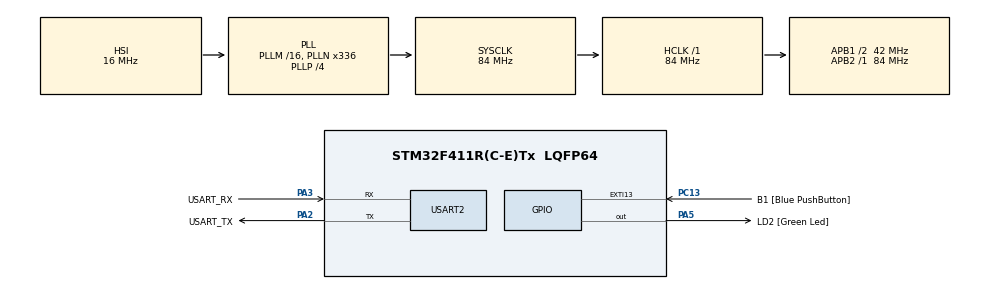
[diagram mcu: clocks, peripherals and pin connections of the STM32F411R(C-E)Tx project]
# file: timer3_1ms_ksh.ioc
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Mcu.Family=STM32F4
Mcu.Name=STM32F411R(C-E)Tx
Mcu.Package=LQFP64
NVIC.PriorityGroup=NVIC_PRIORITYGROUP_0
NVIC.TIM3_IRQn=true\:0\:0\:false\:false\:true\:true\:true\:true
PA13.GPIO_Label=TMS
PA13.Mode=Serial_Wire
PA13.Signal=SYS_JTMS-SWDIO
PA14.GPIO_Label=TCK
PA14.Mode=Serial_Wire
PA14.Signal=SYS_JTCK-SWCLK
PA2.GPIO_Label=USART_TX
PA2.Mode=Asynchronous
PA2.Signal=USART2_TX
PA3.GPIO_Label=USART_RX
PA3.Mode=Asynchronous
PA3.Signal=USART2_RX
PA5.GPIO_Label=LD2 [Green Led]
PA5.Signal=GPIO_Output
PB3.GPIO_Label=SWO
PB3.Signal=SYS_JTDO-SWO
PC13-ANTI_TAMP.GPIO_Label=B1 [Blue PushButton]
PC13-ANTI_TAMP.GPIO_ModeDefaultEXTI=GPIO_MODE_IT_FALLING
PC13-ANTI_TAMP.Signal=GPXTI13
PC14-OSC32_IN.Signal=RCC_OSC32_IN
PC15-OSC32_OUT.Signal=RCC_OSC32_OUT
PH0\ -\ OSC_IN.Signal=RCC_OSC_IN
PH1\ -\ OSC_OUT.Signal=RCC_OSC_OUT
ProjectManager.HeapSize=0x200
ProjectManager.StackSize=0x400
ProjectManager.TargetToolchain=STM32CubeIDE
RCC.48MHZClocksFreq_Value=84000000
RCC.AHBFreq_Value=84000000
RCC.APB1CLKDivider=RCC_HCLK_DIV2
RCC.APB1Freq_Value=42000000
RCC.APB1TimFreq_Value=84000000
RCC.APB2Freq_Value=84000000
RCC.APB2TimFreq_Value=84000000
RCC.CortexFreq_Value=84000000
RCC.FLatency-AdvancedSettings=FLASH_LATENCY_2
RCC.HCLKFreq_Value=84000000
RCC.HSE_VALUE=8000000
RCC.HSI_VALUE=16000000
RCC.LSE_VALUE=32768
RCC.PLLN=336
RCC.PLLP=RCC_PLLP_DIV4
RCC.SYSCLKFreq_VALUE=84000000
RCC.SYSCLKSource=RCC_SYSCLKSOURCE_PLLCLK
RCC.VCOOutputFreq_Value=336000000
TIM3.AutoReloadPreload=TIM_AUTORELOAD_PRELOAD_ENABLE
TIM3.Period=1000-1
TIM3.Prescaler=84
USART2.VirtualMode=VM_ASYNC
VP_TIM3_VS_ClockSourceINT.Mode=Internal
board=NUCLEO-F411RE

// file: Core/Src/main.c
/* USER CODE BEGIN Header */
/**
  ******************************************************************************
  * @file           : main.c
  * @brief          : Main program body
  ******************************************************************************
  * @attention
  *
  * Copyright (c) 2025 STMicroelectronics.
  * All rights reserved.
  *
  * This software is licensed under terms that can be found in the LICENSE file
  * in the root directory of this software component.
  * If no LICENSE file comes with this software, it is provided AS-IS.
  *
  ******************************************************************************
  */
/* USER CODE END Header */
#include "main.h"

/* USER CODE BEGIN Includes */
#include <stdio.h>
/* USER CODE END Includes */

/* USER CODE BEGIN PD */
#ifdef __GNUC__
/* With GCC, small printf (option LD Linker->Libraries->Small printf
   set to 'Yes') calls __io_putchar() */
#define PUTCHAR_PROTOTYPE int __io_putchar(int ch)
#else
#define PUTCHAR_PROTOTYPE int fputc(int ch, FILE *f)
#endif /* __GNUC__ */
/* USER CODE END PD */

TIM_HandleTypeDef htim3;

UART_HandleTypeDef huart2;

/* USER CODE BEGIN PV */
volatile int time3SecFlag = 0;
volatile unsigned int time3SecCnt=0;
/* USER CODE END PV */

void SystemClock_Config(void);
static void MX_GPIO_Init(void);
static void MX_USART2_UART_Init(void);
static void MX_TIM3_Init(void);

int main(void)
{

  /* USER CODE BEGIN 1 */
	int cnt = 0;
  /* USER CODE END 1 */

  /* MCU Configuration--------------------------------------------------------*/

  /* Reset of all peripherals, Initializes the Flash interface and the Systick. */
  HAL_Init();

  /* Configure the system clock */
  SystemClock_Config();

  /* Initialize all configured peripherals */
  MX_GPIO_Init();
  MX_USART2_UART_Init();
  MX_TIM3_Init();
  /* USER CODE BEGIN 2 */
  printf("start main()!!\r\n");
  if(HAL_TIM_Base_Start_IT(&htim3) != HAL_OK)
	  Error_Handler();

  /* USER CODE END 2 */

  /* Infinite loop */
  /* USER CODE BEGIN WHILE */
  while (1)
  {
//	  HAL_GPIO_TogglePin(LD2_GPIO_Port,LD2_Pin);
//	  HAL_Delay(1000);

	  if(time3SecFlag)
	  {
		  HAL_GPIO_TogglePin(LD2_GPIO_Port,LD2_Pin);
		  time3SecFlag = 0;
		  printf("cnt : %d\r\n",cnt++);
	  }
    /* USER CODE END WHILE */

  }
}

void SystemClock_Config(void)
{
  RCC_OscInitTypeDef RCC_OscInitStruct = {0};
  RCC_ClkInitTypeDef RCC_ClkInitStruct = {0};

  /** Configure the main internal regulator output voltage
  */
  __HAL_RCC_PWR_CLK_ENABLE();
  __HAL_PWR_VOLTAGESCALING_CONFIG(PWR_REGULATOR_VOLTAGE_SCALE1);

  /** Initializes the RCC Oscillators according to the specified parameters
  * in the RCC_OscInitTypeDef structure.
  */
  RCC_OscInitStruct.OscillatorType = RCC_OSCILLATORTYPE_HSI;
  RCC_OscInitStruct.HSIState = RCC_HSI_ON;
  RCC_OscInitStruct.HSICalibrationValue = RCC_HSICALIBRATION_DEFAULT;
  RCC_OscInitStruct.PLL.PLLState = RCC_PLL_ON;
  RCC_OscInitStruct.PLL.PLLSource = RCC_PLLSOURCE_HSI;
  RCC_OscInitStruct.PLL.PLLM = 16;
  RCC_OscInitStruct.PLL.PLLN = 336;
  RCC_OscInitStruct.PLL.PLLP = RCC_PLLP_DIV4;
  RCC_OscInitStruct.PLL.PLLQ = 4;
  if (HAL_RCC_OscConfig(&RCC_OscInitStruct) != HAL_OK)
  {
    Error_Handler();
  }

  /** Initializes the CPU, AHB and APB buses clocks
  */
  RCC_ClkInitStruct.ClockType = RCC_CLOCKTYPE_HCLK|RCC_CLOCKTYPE_SYSCLK
                              |RCC_CLOCKTYPE_PCLK1|RCC_CLOCKTYPE_PCLK2;
  RCC_ClkInitStruct.SYSCLKSource = RCC_SYSCLKSOURCE_PLLCLK;
  RCC_ClkInitStruct.AHBCLKDivider = RCC_SYSCLK_DIV1;
  RCC_ClkInitStruct.APB1CLKDivider = RCC_HCLK_DIV2;
  RCC_ClkInitStruct.APB2CLKDivider = RCC_HCLK_DIV1;

  if (HAL_RCC_ClockConfig(&RCC_ClkInitStruct, FLASH_LATENCY_2) != HAL_OK)
  {
    Error_Handler();
  }
}

static void MX_TIM3_Init(void)
{

  TIM_ClockConfigTypeDef sClockSourceConfig = {0};
  TIM_MasterConfigTypeDef sMasterConfig = {0};

  htim3.Instance = TIM3;
  htim3.Init.Prescaler = 84;
  htim3.Init.CounterMode = TIM_COUNTERMODE_UP;
  htim3.Init.Period = 1000-1;
  htim3.Init.ClockDivision = TIM_CLOCKDIVISION_DIV1;
  htim3.Init.AutoReloadPreload = TIM_AUTORELOAD_PRELOAD_ENABLE;
  if (HAL_TIM_Base_Init(&htim3) != HAL_OK)
  {
    Error_Handler();
  }
  sClockSourceConfig.ClockSource = TIM_CLOCKSOURCE_INTERNAL;
  if (HAL_TIM_ConfigClockSource(&htim3, &sClockSourceConfig) != HAL_OK)
  {
    Error_Handler();
  }
  sMasterConfig.MasterOutputTrigger = TIM_TRGO_RESET;
  sMasterConfig.MasterSlaveMode = TIM_MASTERSLAVEMODE_DISABLE;
  if (HAL_TIMEx_MasterConfigSynchronization(&htim3, &sMasterConfig) != HAL_OK)
  {
    Error_Handler();
  }

}

static void MX_USART2_UART_Init(void)
{

  huart2.Instance = USART2;
  huart2.Init.BaudRate = 115200;
  huart2.Init.WordLength = UART_WORDLENGTH_8B;
  huart2.Init.StopBits = UART_STOPBITS_1;
  huart2.Init.Parity = UART_PARITY_NONE;
  huart2.Init.Mode = UART_MODE_TX_RX;
  huart2.Init.HwFlowCtl = UART_HWCONTROL_NONE;
  huart2.Init.OverSampling = UART_OVERSAMPLING_16;
  if (HAL_UART_Init(&huart2) != HAL_OK)
  {
    Error_Handler();
  }

}

static void MX_GPIO_Init(void)
{
  GPIO_InitTypeDef GPIO_InitStruct = {0};

  /* GPIO Ports Clock Enable */
  __HAL_RCC_GPIOC_CLK_ENABLE();
  __HAL_RCC_GPIOH_CLK_ENABLE();
  __HAL_RCC_GPIOA_CLK_ENABLE();
  __HAL_RCC_GPIOB_CLK_ENABLE();

  /*Configure GPIO pin Output Level */
  HAL_GPIO_WritePin(LD2_GPIO_Port, LD2_Pin, GPIO_PIN_RESET);

  /*Configure GPIO pin : B1_Pin */
  GPIO_InitStruct.Pin = B1_Pin;
  GPIO_InitStruct.Mode = GPIO_MODE_IT_FALLING;
  GPIO_InitStruct.Pull = GPIO_NOPULL;
  HAL_GPIO_Init(B1_GPIO_Port, &GPIO_InitStruct);

  /*Configure GPIO pin : LD2_Pin */
  GPIO_InitStruct.Pin = LD2_Pin;
  GPIO_InitStruct.Mode = GPIO_MODE_OUTPUT_PP;
  GPIO_InitStruct.Pull = GPIO_NOPULL;
  GPIO_InitStruct.Speed = GPIO_SPEED_FREQ_LOW;
  HAL_GPIO_Init(LD2_GPIO_Port, &GPIO_InitStruct);

}

/* USER CODE BEGIN 4 */
void HAL_TIM_PeriodElapsedCallback(TIM_HandleTypeDef *htim)
{
	static unsigned int time3Cnt = 0;
	time3Cnt++;
	if(time3Cnt >= 1000)   //1ms * 1000 = 1Sec
	{
		time3SecFlag = 1;
		time3SecCnt++;
		time3Cnt = 0;
	}
}
/**
  * @brief  Retargets the C library printf function to the USART.
  * @param  None
  * @retval None
  */
PUTCHAR_PROTOTYPE
{
  /* Place your implementation of fputc here */
  /* e.g. write a character to the USART6 and Loop until the end of transmission */
  HAL_UART_Transmit(&huart2, (uint8_t *)&ch, 1, 0xFFFF);

  return ch;
}
/* USER CODE END 4 */

void Error_Handler(void)
{
  __disable_irq();
  while (1)
  {
  }
}
